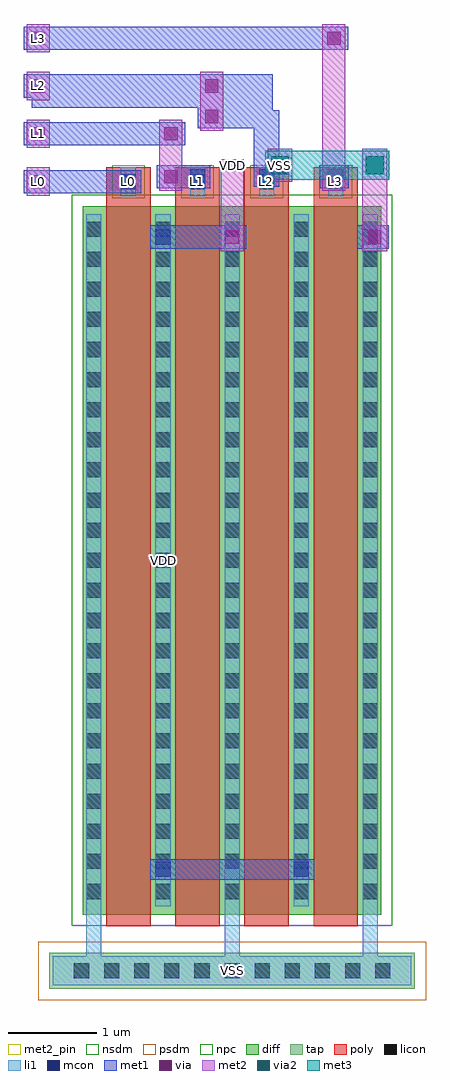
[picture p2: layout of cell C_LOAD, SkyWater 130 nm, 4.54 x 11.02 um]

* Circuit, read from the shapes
.subckt C_LOAD L0 L1 L2 L3 VDD VSS
XM1 VDD L0 VSS VSS sky130_fd_pr__nfet_01v8 w=8 l=0.5
XM2 VSS L1 VDD VSS sky130_fd_pr__nfet_01v8 w=8 l=0.5
XM3 VDD L2 VSS VSS sky130_fd_pr__nfet_01v8 w=8 l=0.5
XM4 VSS L3 VDD VSS sky130_fd_pr__nfet_01v8 w=8 l=0.5
.ends

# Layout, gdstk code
import gdstk
lib = gdstk.Library(unit=1e-6, precision=1e-09)
def R(c, l, rs):  # rectangles x0, y0, x1, y1
    for r in rs: c.add(gdstk.rectangle(r[:2], r[2:], *l))
def A(c, l, x, y, w, h, nx, ny, dx, dy):  # array of equal rectangles
    R(c, l, [(x+i*dx, y+j*dy, x+i*dx+w, y+j*dy+h) for i in range(nx) for j in range(ny)])
diff = (65, 20)
tap = (65, 44)
poly = (66, 20)
licon = (66, 44)
li1 = (67, 20)
mcon = (67, 44)
met1 = (68, 20)
via = (68, 44)
met2_pin = (69, 16)
met2 = (69, 20)
via2 = (69, 44)
met3 = (70, 20)
nsdm = (93, 44)
psdm = (94, 20)
npc = (95, 20)

c_load = lib.new_cell('C_LOAD')
A(c_load, diff, -1.685, 0, 1.03, 8, 4, 1, 0.78, 0)
R(c_load, tap, [(-2.065,-0.84,2.065,-0.43)])
A(c_load, poly, -1.42, -0.13, 0.5, 8.57, 4, 1, 0.78, 0)
A(c_load, poly, -1.42, 8.11, 0.5, 0.33, 4, 1, 0.78, 0)
A(c_load, licon, -1.785, -0.72, 0.17, 0.17, 11, 1, 0.34, 0)
A(c_load, licon, -1.645, 0.175, 0.17, 0.17, 1, 23, 0, 0.34)
A(c_load, licon, 1.475, 0.175, 0.17, 0.17, 1, 23, 0, 0.34)
A(c_load, licon, -1.255, 8.19, 0.17, 0.17, 4, 1, 0.78, 0)
R(c_load, licon, [(-0.865,0.175,-0.695,0.345), (-0.865,0.175,-0.695,0.345), (-0.085,0.175,0.085,0.345), (-0.085,0.175,0.085,0.345), (0.695,0.175,0.865,0.345), (0.695,0.175,0.865,0.345), (-0.865,0.515,-0.695,0.685), (-0.865,0.515,-0.695,0.685), (-0.085,0.515,0.085,0.685), (-0.085,0.515,0.085,0.685), (0.695,0.515,0.865,0.685), (0.695,0.515,0.865,0.685), (-0.865,0.855,-0.695,1.025), (-0.865,0.855,-0.695,1.025), (-0.085,0.855,0.085,1.025), (-0.085,0.855,0.085,1.025), (0.695,0.855,0.865,1.025), (0.695,0.855,0.865,1.025), (-0.865,1.195,-0.695,1.365), (-0.865,1.195,-0.695,1.365), (-0.085,1.195,0.085,1.365), (-0.085,1.195,0.085,1.365), (0.695,1.195,0.865,1.365), (0.695,1.195,0.865,1.365), (-0.865,1.535,-0.695,1.705), (-0.865,1.535,-0.695,1.705), (-0.085,1.535,0.085,1.705), (-0.085,1.535,0.085,1.705), (0.695,1.535,0.865,1.705), (0.695,1.535,0.865,1.705), (-0.865,1.875,-0.695,2.045), (-0.865,1.875,-0.695,2.045), (-0.085,1.875,0.085,2.045), (-0.085,1.875,0.085,2.045), (0.695,1.875,0.865,2.045), (0.695,1.875,0.865,2.045), (-0.865,2.215,-0.695,2.385), (-0.865,2.215,-0.695,2.385), (-0.085,2.215,0.085,2.385), (-0.085,2.215,0.085,2.385), (0.695,2.215,0.865,2.385), (0.695,2.215,0.865,2.385), (-0.865,2.555,-0.695,2.725), (-0.865,2.555,-0.695,2.725), (-0.085,2.555,0.085,2.725), (-0.085,2.555,0.085,2.725), (0.695,2.555,0.865,2.725), (0.695,2.555,0.865,2.725), (-0.865,2.895,-0.695,3.065), (-0.865,2.895,-0.695,3.065), (-0.085,2.895,0.085,3.065), (-0.085,2.895,0.085,3.065), (0.695,2.895,0.865,3.065), (0.695,2.895,0.865,3.065), (-0.865,3.235,-0.695,3.405), (-0.865,3.235,-0.695,3.405), (-0.085,3.235,0.085,3.405), (-0.085,3.235,0.085,3.405), (0.695,3.235,0.865,3.405), (0.695,3.235,0.865,3.405), (-0.865,3.575,-0.695,3.745), (-0.865,3.575,-0.695,3.745), (-0.085,3.575,0.085,3.745), (-0.085,3.575,0.085,3.745), (0.695,3.575,0.865,3.745), (0.695,3.575,0.865,3.745), (-0.865,3.915,-0.695,4.085), (-0.865,3.915,-0.695,4.085), (-0.085,3.915,0.085,4.085), (-0.085,3.915,0.085,4.085), (0.695,3.915,0.865,4.085), (0.695,3.915,0.865,4.085), (-0.865,4.255,-0.695,4.425), (-0.865,4.255,-0.695,4.425), (-0.085,4.255,0.085,4.425), (-0.085,4.255,0.085,4.425), (0.695,4.255,0.865,4.425), (0.695,4.255,0.865,4.425), (-0.865,4.595,-0.695,4.765), (-0.865,4.595,-0.695,4.765), (-0.085,4.595,0.085,4.765), (-0.085,4.595,0.085,4.765), (0.695,4.595,0.865,4.765), (0.695,4.595,0.865,4.765), (-0.865,4.935,-0.695,5.105), (-0.865,4.935,-0.695,5.105), (-0.085,4.935,0.085,5.105), (-0.085,4.935,0.085,5.105), (0.695,4.935,0.865,5.105), (0.695,4.935,0.865,5.105), (-0.865,5.275,-0.695,5.445), (-0.865,5.275,-0.695,5.445), (-0.085,5.275,0.085,5.445), (-0.085,5.275,0.085,5.445), (0.695,5.275,0.865,5.445), (0.695,5.275,0.865,5.445), (-0.865,5.615,-0.695,5.785), (-0.865,5.615,-0.695,5.785), (-0.085,5.615,0.085,5.785), (-0.085,5.615,0.085,5.785), (0.695,5.615,0.865,5.785), (0.695,5.615,0.865,5.785), (-0.865,5.955,-0.695,6.125), (-0.865,5.955,-0.695,6.125), (-0.085,5.955,0.085,6.125), (-0.085,5.955,0.085,6.125), (0.695,5.955,0.865,6.125), (0.695,5.955,0.865,6.125), (-0.865,6.295,-0.695,6.465), (-0.865,6.295,-0.695,6.465), (-0.085,6.295,0.085,6.465), (-0.085,6.295,0.085,6.465), (0.695,6.295,0.865,6.465), (0.695,6.295,0.865,6.465), (-0.865,6.635,-0.695,6.805), (-0.865,6.635,-0.695,6.805), (-0.085,6.635,0.085,6.805), (-0.085,6.635,0.085,6.805), (0.695,6.635,0.865,6.805), (0.695,6.635,0.865,6.805), (-0.865,6.975,-0.695,7.145), (-0.865,6.975,-0.695,7.145), (-0.085,6.975,0.085,7.145), (-0.085,6.975,0.085,7.145), (0.695,6.975,0.865,7.145), (0.695,6.975,0.865,7.145), (-0.865,7.315,-0.695,7.485), (-0.865,7.315,-0.695,7.485), (-0.085,7.315,0.085,7.485), (-0.085,7.315,0.085,7.485), (0.695,7.315,0.865,7.485), (0.695,7.315,0.865,7.485), (-0.865,7.655,-0.695,7.825), (-0.865,7.655,-0.695,7.825), (-0.085,7.655,0.085,7.825), (-0.085,7.655,0.085,7.825), (0.695,7.655,0.865,7.825), (0.695,7.655,0.865,7.825)])
A(c_load, li1, -1.255, 8.11, 0.17, 0.33, 4, 1, 0.78, 0)
A(c_load, li1, -0.475, 8.245, 0.17, 0.17, 3, 1, 0.78, 0)
R(c_load, li1, [(-2.025,-0.8,2.025,-0.47), (-1.645,-0.47,-1.475,0.095), (-0.085,-0.47,0.085,0.095), (-0.085,-0.47,0.085,0.095), (1.475,-0.47,1.645,0.095), (-1.645,0.095,-1.475,7.905), (-0.865,0.095,-0.695,7.905), (-0.865,0.095,-0.695,7.905), (-0.085,0.095,0.085,7.905), (-0.085,0.095,0.085,7.905), (0.695,0.095,0.865,7.905), (0.695,0.095,0.865,7.905), (1.475,0.095,1.645,7.905), (-0.865,0.425,-0.695,0.595), (0.695,0.425,0.865,0.595), (-0.865,7.565,-0.695,7.735), (1.475,7.565,1.645,7.735), (-1.255,8.19,-1.085,8.36)])
A(c_load, mcon, -0.475, 8.245, 0.17, 0.17, 3, 1, 0.78, 0)
R(c_load, mcon, [(-0.865,0.425,-0.695,0.595), (0.695,0.425,0.865,0.595), (-0.865,7.565,-0.695,7.735), (1.475,7.565,1.645,7.735), (-1.255,8.19,-1.085,8.36)])
A(c_load, met1, -2.35, 8.145, 0.32, 0.26, 1, 4, 0, 0.54)
A(c_load, met1, -0.535, 8.215, 0.29, 0.23, 3, 1, 0.78, 0)
R(c_load, met1, [(-0.925,0.395,-0.635,0.625), (-0.85,0.395,0.85,0.625), (0.635,0.395,0.925,0.625), (-0.85,0.44,0.85,0.58), (-0.925,7.52,0.07,7.78), (-0.85,7.52,0.07,7.78), (-0.16,7.52,0.16,7.78), (1.415,7.52,1.77,7.78), (1.45,7.52,1.77,7.78), (1.49,7.52,1.68,7.78), (-0.925,7.535,-0.635,7.765), (-0.85,7.535,0.07,7.765), (1.415,7.535,1.705,7.765), (1.49,7.535,1.68,7.765), (-0.85,7.58,0.07,7.72), (1.49,7.58,1.68,7.72), (-2.26,8.145,-1.1,8.405), (-2.26,8.145,-1.025,8.405), (-2.26,8.16,-1.1,8.39), (-1.315,8.16,-1.025,8.39), (-0.85,8.2,-0.245,8.46), (-0.85,8.2,-0.53,8.46), (-0.76,8.2,-0.32,8.46), (-0.76,8.2,-0.245,8.46), (0.99,8.2,1.31,8.46), (0.99,8.2,1.315,8.46), (1.08,8.2,1.24,8.46), (-2.26,8.205,-1.1,8.345), (-0.76,8.215,-0.32,8.445), (1.08,8.215,1.24,8.445), (-0.76,8.26,-0.32,8.4), (0.245,8.26,0.535,9.08), (0.32,8.26,0.46,9.08), (1.08,8.26,1.24,8.4), (-2.26,8.685,-0.62,8.945), (-0.85,8.685,-0.53,8.945), (-2.26,8.745,-0.62,8.885), (-0.39,8.88,-0.07,9.485), (-0.39,8.88,-0.07,9.14), (-0.39,8.88,0.46,9.485), (-0.3,8.88,0.46,9.14), (-0.3,8.94,0.46,9.08), (-2.26,9.11,0.46,9.25), (-2.26,9.11,-0.07,9.25), (-2.26,9.11,0.46,9.485), (-2.26,9.225,-0.16,9.485), (-0.39,9.225,-0.07,9.485), (-2.26,9.285,-0.16,9.425), (-2.26,9.765,1.22,10.025), (0.99,9.765,1.31,10.025), (-2.26,9.825,1.22,9.965)])
A(c_load, via, -2.265, 8.2, 0.15, 0.15, 1, 4, 0, 0.54)
R(c_load, via, [(-0.075,7.575,0.075,7.725), (1.535,7.575,1.685,7.725), (-0.765,8.255,-0.615,8.405), (1.075,8.255,1.225,8.405), (-0.765,8.74,-0.615,8.89), (-0.305,8.935,-0.155,9.085), (-0.305,9.28,-0.155,9.43), (1.075,9.82,1.225,9.97)])
A(c_load, met2_pin, -2.26, 8.205, 0.14, 0.14, 1, 4, 0, 0.54)
R(c_load, met2_pin, [(-0.07,8.39,0.07,8.53), (0.47,8.39,0.61,8.53)])
A(c_load, met2, -2.32, 8.115, 0.26, 0.32, 1, 4, 0, 0.54)
R(c_load, met2, [(-0.13,7.49,0.13,7.81), (1.47,7.49,1.75,8.53), (1.48,7.49,1.74,7.81), (-0.13,7.58,0.13,8.53), (-0.07,7.58,0.07,8.53), (1.47,7.58,1.75,8.53), (1.48,7.58,1.74,8.53), (1.54,7.58,1.68,8.53), (-0.82,8.17,-0.56,8.49), (1.02,8.17,1.28,8.49), (-0.82,8.26,-0.56,8.885), (-0.76,8.26,-0.62,8.885), (1.02,8.26,1.28,9.965), (1.08,8.26,1.22,9.965), (0.4,8.275,0.68,8.645), (1.47,8.275,1.75,8.645), (-0.82,8.655,-0.56,8.975), (-0.36,8.85,-0.1,9.17), (-0.36,8.94,-0.1,9.425), (-0.3,8.94,-0.16,9.425), (-0.36,9.195,-0.1,9.515), (1.02,9.735,1.28,10.055)])
R(c_load, via2, [(0.44,8.36,0.64,8.56), (1.51,8.36,1.71,8.56)])
R(c_load, met3, [(0.375,8.295,0.705,8.625), (0.39,8.295,1.76,8.625), (1.445,8.295,1.775,8.625), (0.39,8.31,1.76,8.61)])
A(c_load, nsdm, -1.81, -0.125, 1.28, 8.25, 4, 1, 0.78, 0)
R(c_load, psdm, [(-2.19,-0.965,2.19,-0.305)])
A(c_load, npc, -1.355, 8.09, 0.37, 0.37, 4, 1, 0.78, 0)
c_load.add(gdstk.Label('VDD', (0,8.46), layer=69, texttype=5))
c_load.add(gdstk.Label('L3', (-2.19,9.895), layer=69, texttype=5))
c_load.add(gdstk.Label('VSS', (0.54,8.46), layer=69, texttype=5))
c_load.add(gdstk.Label('L2', (-2.19,9.355), layer=69, texttype=5))
c_load.add(gdstk.Label('L1', (-2.19,8.815), layer=69, texttype=5))
c_load.add(gdstk.Label('L0', (-2.19,8.275), layer=69, texttype=5))
c_load.add(gdstk.Label('VDD', (-0.78,4), layer=67, texttype=5))
c_load.add(gdstk.Label('L3', (1.17,8.275), layer=67, texttype=5))
c_load.add(gdstk.Label('VSS', (0,-0.635), layer=67, texttype=5))
c_load.add(gdstk.Label('L2', (0.39,8.275), layer=67, texttype=5))
c_load.add(gdstk.Label('L1', (-0.39,8.275), layer=67, texttype=5))
c_load.add(gdstk.Label('L0', (-1.17,8.275), layer=67, texttype=5))

lib.write_gds('C_LOAD.gds')
